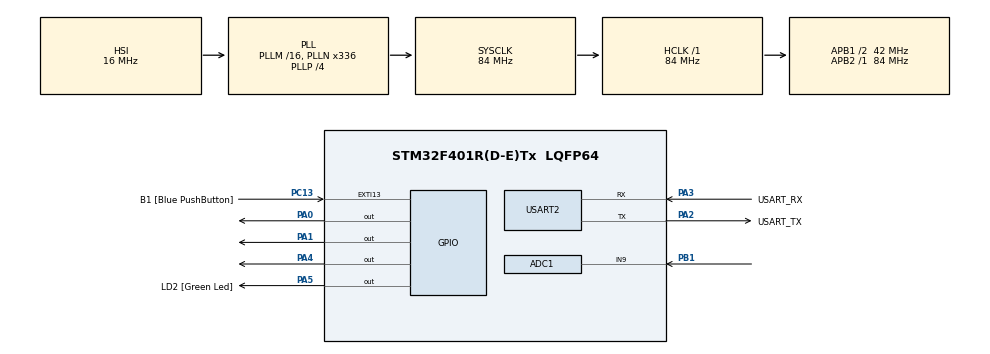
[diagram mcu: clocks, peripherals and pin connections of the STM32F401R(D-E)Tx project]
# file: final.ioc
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ADC1.Channel-2\#ChannelRegularConversion=ADC_CHANNEL_9
ADC1.ContinuousConvMode=ENABLE
ADC1.NbrOfConversionFlag=1
ADC1.Rank-2\#ChannelRegularConversion=1
ADC1.SamplingTime-2\#ChannelRegularConversion=ADC_SAMPLETIME_3CYCLES
ADC1.master=1
Mcu.Family=STM32F4
Mcu.Name=STM32F401R(D-E)Tx
Mcu.Package=LQFP64
NVIC.PriorityGroup=NVIC_PRIORITYGROUP_0
PA0-WKUP.Signal=GPIO_Output
PA1.Signal=GPIO_Output
PA13.GPIO_Label=TMS
PA13.Mode=Serial_Wire
PA13.Signal=SYS_JTMS-SWDIO
PA14.GPIO_Label=TCK
PA14.Mode=Serial_Wire
PA14.Signal=SYS_JTCK-SWCLK
PA2.GPIO_Label=USART_TX
PA2.GPIO_Mode=GPIO_MODE_AF_PP
PA2.GPIO_PuPd=GPIO_NOPULL
PA2.GPIO_Speed=GPIO_SPEED_FREQ_LOW
PA2.Mode=Asynchronous
PA2.Signal=USART2_TX
PA3.GPIO_Label=USART_RX
PA3.GPIO_Mode=GPIO_MODE_AF_PP
PA3.GPIO_PuPd=GPIO_NOPULL
PA3.GPIO_Speed=GPIO_SPEED_FREQ_LOW
PA3.Mode=Asynchronous
PA3.Signal=USART2_RX
PA4.Signal=GPIO_Output
PA5.GPIO_Label=LD2 [Green Led]
PA5.GPIO_Mode=GPIO_MODE_OUTPUT_PP
PA5.GPIO_PuPd=GPIO_NOPULL
PA5.GPIO_Speed=GPIO_SPEED_FREQ_LOW
PA5.Signal=GPIO_Output
PB1.Signal=ADCx_IN9
PB3.GPIO_Label=SWO
PB3.Signal=SYS_JTDO-SWO
PC13-ANTI_TAMP.GPIO_Label=B1 [Blue PushButton]
PC13-ANTI_TAMP.GPIO_ModeDefaultEXTI=GPIO_MODE_IT_FALLING
PC13-ANTI_TAMP.GPIO_PuPd=GPIO_NOPULL
PC13-ANTI_TAMP.Signal=GPXTI13
PC14-OSC32_IN.Mode=LSE-External-Oscillator
PC14-OSC32_IN.Signal=RCC_OSC32_IN
PC15-OSC32_OUT.Mode=LSE-External-Oscillator
PC15-OSC32_OUT.Signal=RCC_OSC32_OUT
PH0\ -\ OSC_IN.Mode=HSE-External-Clock-Source
PH0\ -\ OSC_IN.Signal=RCC_OSC_IN
PH1\ -\ OSC_OUT.Mode=HSE-External-Clock-Source
PH1\ -\ OSC_OUT.Signal=RCC_OSC_OUT
ProjectManager.HeapSize=0x200
ProjectManager.StackSize=0x400
ProjectManager.TargetToolchain=STM32CubeIDE
RCC.48MHZClocksFreq_Value=48000000
RCC.AHBFreq_Value=84000000
RCC.APB1CLKDivider=RCC_HCLK_DIV2
RCC.APB1Freq_Value=42000000
RCC.APB1TimFreq_Value=84000000
RCC.APB2Freq_Value=84000000
RCC.APB2TimFreq_Value=84000000
RCC.CortexFreq_Value=84000000
RCC.HCLKFreq_Value=84000000
RCC.HSE_VALUE=8000000
RCC.HSI_VALUE=16000000
RCC.PLLN=336
RCC.PLLP=RCC_PLLP_DIV4
RCC.PLLQ=7
RCC.SYSCLKFreq_VALUE=84000000
RCC.SYSCLKSource=RCC_SYSCLKSOURCE_PLLCLK
RCC.VCOOutputFreq_Value=336000000
SH.ADCx_IN9.0=ADC1_IN9,IN9
USART2.VirtualMode=VM_ASYNC
board=NUCLEO-F401RE

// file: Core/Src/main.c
/* USER CODE BEGIN Header */
/**
  ******************************************************************************
  * @file           : main.c
  * @brief          : Main program body
  ******************************************************************************
  * @attention
  *
  * Copyright (c) 2022 STMicroelectronics.
  * All rights reserved.
  *
  * This software is licensed under terms that can be found in the LICENSE file
  * in the root directory of this software component.
  * If no LICENSE file comes with this software, it is provided AS-IS.
  *
  ******************************************************************************
  */
/* USER CODE END Header */
#include "main.h"

ADC_HandleTypeDef hadc1;

UART_HandleTypeDef huart2;

void SystemClock_Config(void);
static void MX_GPIO_Init(void);
static void MX_USART2_UART_Init(void);
static void MX_ADC1_Init(void);

int main(void)
{
  /* USER CODE BEGIN 1 */
	uint32_t raw;
	uint32_t old_raw;

  /* USER CODE END 1 */

  /* MCU Configuration--------------------------------------------------------*/

  /* Reset of all peripherals, Initializes the Flash interface and the Systick. */
  HAL_Init();

  /* Configure the system clock */
  SystemClock_Config();

  /* Initialize all configured peripherals */
  MX_GPIO_Init();
  MX_USART2_UART_Init();
  MX_ADC1_Init();
  /* USER CODE BEGIN 2 */
  HAL_ADC_Start(&hadc1);
  /* USER CODE END 2 */

  /* Infinite loop */
  /* USER CODE BEGIN WHILE */
  while (1)
  {
	  old_raw = raw;
	  raw = 0;
	  HAL_GPIO_WritePin(GPIOA, GPIO_PIN_0, 1);
	  HAL_ADC_PollForConversion(&hadc1, 1000);

	  raw = HAL_ADC_GetValue(&hadc1);

	  // printf("%h", raw);

	  // setting motor to off
	  HAL_GPIO_WritePin(GPIOA, GPIO_PIN_1, 1);

	  if (raw > 750) {
		  HAL_GPIO_WritePin(GPIOA, GPIO_PIN_5, 1);
		  HAL_GPIO_WritePin(GPIOA, GPIO_PIN_1, 1);
		  HAL_Delay(raw*10);

		  HAL_GPIO_WritePin(GPIOA, GPIO_PIN_5, 0);
		  HAL_GPIO_WritePin(GPIOA, GPIO_PIN_1, 0);
		  HAL_Delay(raw*10);
	  }
    /* USER CODE END WHILE */

  }
}

void SystemClock_Config(void)
{
  RCC_OscInitTypeDef RCC_OscInitStruct = {0};
  RCC_ClkInitTypeDef RCC_ClkInitStruct = {0};

  /** Configure the main internal regulator output voltage
  */
  __HAL_RCC_PWR_CLK_ENABLE();
  __HAL_PWR_VOLTAGESCALING_CONFIG(PWR_REGULATOR_VOLTAGE_SCALE2);

  /** Initializes the RCC Oscillators according to the specified parameters
  * in the RCC_OscInitTypeDef structure.
  */
  RCC_OscInitStruct.OscillatorType = RCC_OSCILLATORTYPE_HSI;
  RCC_OscInitStruct.HSIState = RCC_HSI_ON;
  RCC_OscInitStruct.HSICalibrationValue = RCC_HSICALIBRATION_DEFAULT;
  RCC_OscInitStruct.PLL.PLLState = RCC_PLL_ON;
  RCC_OscInitStruct.PLL.PLLSource = RCC_PLLSOURCE_HSI;
  RCC_OscInitStruct.PLL.PLLM = 16;
  RCC_OscInitStruct.PLL.PLLN = 336;
  RCC_OscInitStruct.PLL.PLLP = RCC_PLLP_DIV4;
  RCC_OscInitStruct.PLL.PLLQ = 7;
  if (HAL_RCC_OscConfig(&RCC_OscInitStruct) != HAL_OK)
  {
    Error_Handler();
  }

  /** Initializes the CPU, AHB and APB buses clocks
  */
  RCC_ClkInitStruct.ClockType = RCC_CLOCKTYPE_HCLK|RCC_CLOCKTYPE_SYSCLK
                              |RCC_CLOCKTYPE_PCLK1|RCC_CLOCKTYPE_PCLK2;
  RCC_ClkInitStruct.SYSCLKSource = RCC_SYSCLKSOURCE_PLLCLK;
  RCC_ClkInitStruct.AHBCLKDivider = RCC_SYSCLK_DIV1;
  RCC_ClkInitStruct.APB1CLKDivider = RCC_HCLK_DIV2;
  RCC_ClkInitStruct.APB2CLKDivider = RCC_HCLK_DIV1;

  if (HAL_RCC_ClockConfig(&RCC_ClkInitStruct, FLASH_LATENCY_2) != HAL_OK)
  {
    Error_Handler();
  }
}

static void MX_ADC1_Init(void)
{

  ADC_ChannelConfTypeDef sConfig = {0};

  /** Configure the global features of the ADC (Clock, Resolution, Data Alignment and number of conversion)
  */
  hadc1.Instance = ADC1;
  hadc1.Init.ClockPrescaler = ADC_CLOCK_SYNC_PCLK_DIV4;
  hadc1.Init.Resolution = ADC_RESOLUTION_12B;
  hadc1.Init.ScanConvMode = DISABLE;
  hadc1.Init.ContinuousConvMode = ENABLE;
  hadc1.Init.DiscontinuousConvMode = DISABLE;
  hadc1.Init.ExternalTrigConvEdge = ADC_EXTERNALTRIGCONVEDGE_NONE;
  hadc1.Init.ExternalTrigConv = ADC_SOFTWARE_START;
  hadc1.Init.DataAlign = ADC_DATAALIGN_RIGHT;
  hadc1.Init.NbrOfConversion = 1;
  hadc1.Init.DMAContinuousRequests = DISABLE;
  hadc1.Init.EOCSelection = ADC_EOC_SINGLE_CONV;
  if (HAL_ADC_Init(&hadc1) != HAL_OK)
  {
    Error_Handler();
  }

  /** Configure for the selected ADC regular channel its corresponding rank in the sequencer and its sample time.
  */
  sConfig.Channel = ADC_CHANNEL_9;
  sConfig.Rank = 1;
  sConfig.SamplingTime = ADC_SAMPLETIME_3CYCLES;
  if (HAL_ADC_ConfigChannel(&hadc1, &sConfig) != HAL_OK)
  {
    Error_Handler();
  }

}

static void MX_USART2_UART_Init(void)
{

  huart2.Instance = USART2;
  huart2.Init.BaudRate = 115200;
  huart2.Init.WordLength = UART_WORDLENGTH_8B;
  huart2.Init.StopBits = UART_STOPBITS_1;
  huart2.Init.Parity = UART_PARITY_NONE;
  huart2.Init.Mode = UART_MODE_TX_RX;
  huart2.Init.HwFlowCtl = UART_HWCONTROL_NONE;
  huart2.Init.OverSampling = UART_OVERSAMPLING_16;
  if (HAL_UART_Init(&huart2) != HAL_OK)
  {
    Error_Handler();
  }

}

static void MX_GPIO_Init(void)
{
  GPIO_InitTypeDef GPIO_InitStruct = {0};

  /* GPIO Ports Clock Enable */
  __HAL_RCC_GPIOC_CLK_ENABLE();
  __HAL_RCC_GPIOH_CLK_ENABLE();
  __HAL_RCC_GPIOA_CLK_ENABLE();
  __HAL_RCC_GPIOB_CLK_ENABLE();

  /*Configure GPIO pin Output Level */
  HAL_GPIO_WritePin(GPIOA, GPIO_PIN_0|GPIO_PIN_1|GPIO_PIN_4|LD2_Pin, GPIO_PIN_RESET);

  /*Configure GPIO pin : B1_Pin */
  GPIO_InitStruct.Pin = B1_Pin;
  GPIO_InitStruct.Mode = GPIO_MODE_IT_FALLING;
  GPIO_InitStruct.Pull = GPIO_NOPULL;
  HAL_GPIO_Init(B1_GPIO_Port, &GPIO_InitStruct);

  /*Configure GPIO pins : PA0 PA1 PA4 LD2_Pin */
  GPIO_InitStruct.Pin = GPIO_PIN_0|GPIO_PIN_1|GPIO_PIN_4|LD2_Pin;
  GPIO_InitStruct.Mode = GPIO_MODE_OUTPUT_PP;
  GPIO_InitStruct.Pull = GPIO_NOPULL;
  GPIO_InitStruct.Speed = GPIO_SPEED_FREQ_LOW;
  HAL_GPIO_Init(GPIOA, &GPIO_InitStruct);

}

void Error_Handler(void)
{
  __disable_irq();
  while (1)
  {
  }
}
